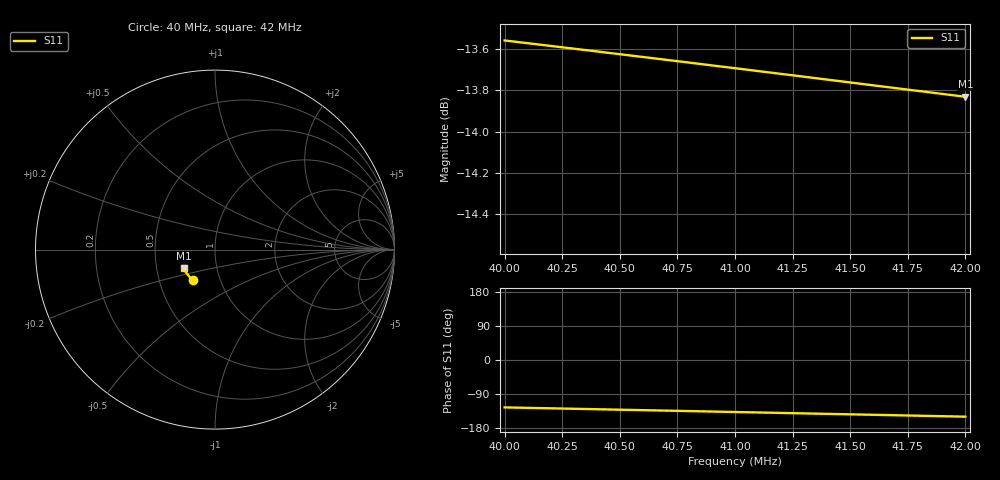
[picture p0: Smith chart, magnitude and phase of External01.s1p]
# Hz S RI R 50
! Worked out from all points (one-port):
!   9 points, 40 MHz to 42 MHz, reference 50 ohm
!   lowest |S11| = -13.8 dB at 42 MHz (marker M1), VSWR 1.51, Z = 34.4 - j7.41 ohm
!   |S11| at or under -10 dB: start of sweep to end of sweep
4e7  -0.1206 -0.1719
4.025e7  -0.129 -0.1646
4.05e7  -0.137 -0.1569
4.075e7  -0.1446 -0.1488
4.1e7  -0.1518 -0.1404
4.125e7  -0.1584 -0.1315
4.15e7  -0.1646 -0.1224
4.175e7  -0.1702 -0.1129
4.2e7  -0.1754 -0.1031
